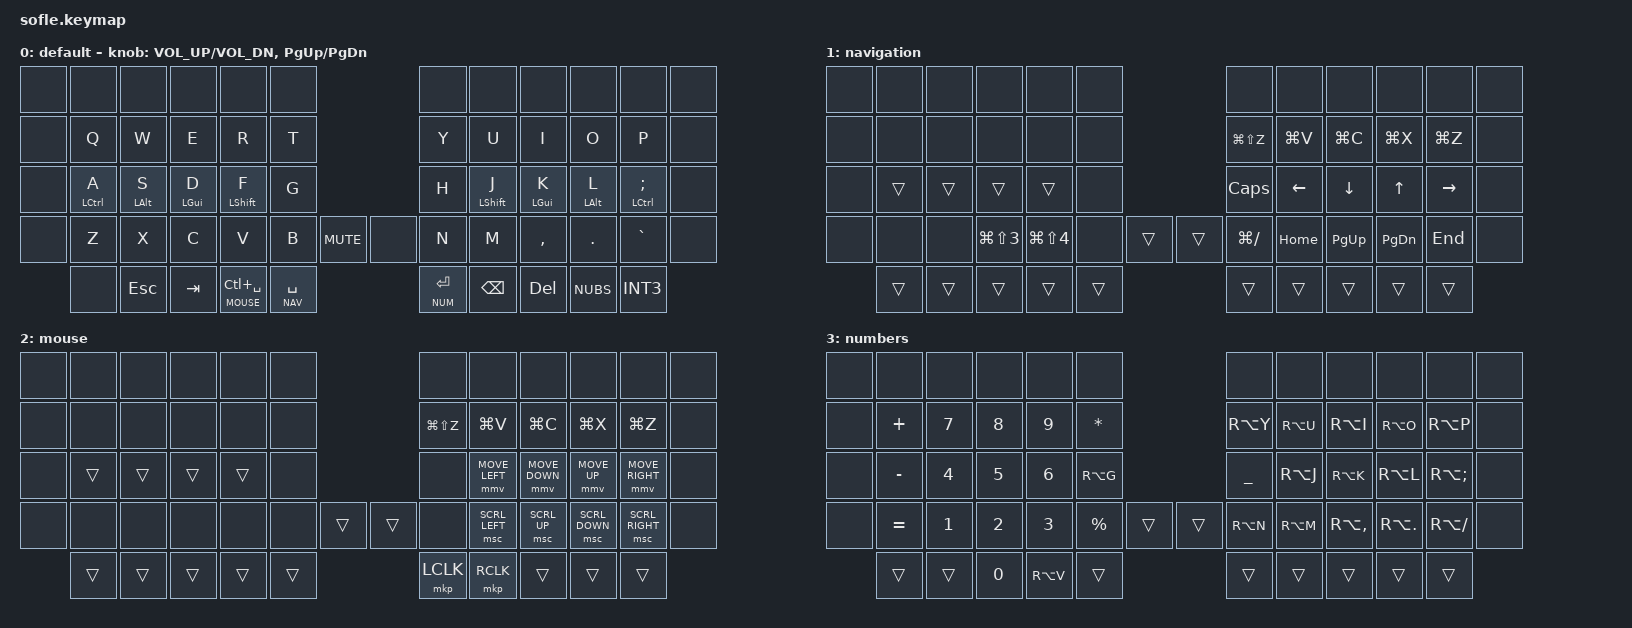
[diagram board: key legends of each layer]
#include <dt-bindings/zmk/mouse.h>
#include <behaviors.dtsi>
#include <dt-bindings/zmk/keys.h>
#include <dt-bindings/zmk/pointing.h>

#define BASE 0
#define NAV  1
#define MOUSE 2
#define NUM  3

/ {
    behaviors {
        // Home Row Mods
        hrm: home_row_mod {
            compatible = "zmk,behavior-hold-tap";
            label = "HOME_ROW_MOD";
            #binding-cells = <2>;
            tapping-term-ms = <180>;
            quick-tap-ms = <120>;
            require-prior-idle-ms = <100>;
            flavor = "tap-preferred";
            bindings = <&kp>, <&kp>;
        };

        // Mouse smoothness
        mmv {
            acceleration-exponent = <1>;
            time-to-max-speed-ms = <500>;
            delay-ms = <0>;
        };

        // Mouse scroll
        msc {
            acceleration-exponent = <1>;
            time-to-max-speed-ms = <500>;
            delay-ms = <0>;
        };
    };

    combos {
        compatible = "zmk,combos";

        // === COMBO FOR THE LAYER BASE ===
        // 1. Combo for the Russian letter "х" ("щ" + "з")
        combo_base_ru_kh {
            timeout-ms = <50>;
            key-positions = <19 20>;
            bindings = <&kp LBKT>;
            layers = <0>;
        };

        // 2. Combo for the Russian letter "э" ("д" + "ж")
        combo_base_ru_ae {
            timeout-ms = <50>;
            key-positions = <31 32>;
            bindings = <&kp SQT>;
            layers = <0>;
        };

        // 3. Combo for the Russian letter "ъ" ("т" + "ь")
        combo_base_ru_hard_sign {
            timeout-ms = <50>;
            key-positions = <45 46>;
            bindings = <&kp RBKT>;
            layers = <0>;
        };

        // === COMBO FOR THE LAYER NUM ===
        // 1. Combo for the letter "\" ("f" + "g")
        // ZMK: Option + F (code 3) -> XML: "\"
        combo_num_bslh {
            timeout-ms = <50>;
            key-positions = <28 29>;
            bindings = <&kp RA(F)>;
            layers = <3>;
        };

        // 2. Combo for the letter "~" ("y" + "u")
        // ZMK: Option + D (code 2) -> XML: "~"
        combo_num_tilde {
            timeout-ms = <50>;
            key-positions = <18 19>;
            bindings = <&kp RA(D)>;
            layers = <3>;
        };

        // 3. Combo for the letter "@" ("u" + "i")
        // ZMK: Option + W (code 13) -> XML: "@"
        combo_num_at {
            timeout-ms = <50>;
            key-positions = <19 20>;
            bindings = <&kp RA(W)>;
            layers = <3>;
        };

        // 4. Combo for the letter "'" ("i" + "o")
        combo_num_sqt {
            timeout-ms = <50>;
            key-positions = <20 21>;
            bindings = <&kp RA(SQT)>;
            layers = <3>;
        };

        // 5. Combo for the letter "`" ("o" + "p")
        combo_num_grave {
            timeout-ms = <50>;
            key-positions = <21 22>;
            bindings = <&kp RA(GRAVE)>;
            layers = <3>;
        };

        // 6. Combo for the letter "#" ("j" + "k")
        // ZMK: Option + E (code 14) -> XML: "#"
        combo_num_hash {
            timeout-ms = <50>;
            key-positions = <31 32>;
            bindings = <&kp RA(E)>;
            layers = <3>;
        };

        // 7. Combo for the letter ";" ("l" + ";")
        combo_num_semi {
            timeout-ms = <50>;
            key-positions = <33 34>;
            bindings = <&kp RA(S)>;
            layers = <3>;
        };

        // 8. Combo for the letter "$" ("m" + ",")
        // ZMK: Option + R (code 15) -> XML: "$"
        combo_num_dollar {
            timeout-ms = <50>;
            key-positions = <45 46>;
            bindings = <&kp RA(R)>;
            layers = <3>;
        };
    };

    keymap {
        compatible = "zmk,keymap";

        // === 0. BASE LAYER ===

        default_layer {
            display-name = "default";
            bindings = <
                &none           &none           &none           &none           &none           &none                                           &none           &none           &none           &none           &none           &none
                &none           &kp Q           &kp W           &kp E           &kp R           &kp T                                           &kp Y           &kp U           &kp I           &kp O           &kp P           &none
                &none           &hrm LCTRL A    &hrm LALT S     &hrm LGUI D     &hrm LSHIFT F   &kp G                                           &kp H           &hrm LSHIFT J   &hrm LGUI K     &hrm LALT L     &hrm LCTRL SEMI &none
                &none           &kp Z           &kp X           &kp C           &kp V           &kp B           &kp C_MUTE      &none           &kp N           &kp M           &kp COMMA       &kp DOT         &kp GRAVE       &none
                                &none           &kp ESCAPE      &kp TAB  &lt MOUSE LC(SPACE)    &lt NAV SPACE                                   &lt NUM ENTER   &kp BSPC        &kp DEL         &kp NUBS        &kp INT3
            >;

            sensor-bindings = <&inc_dec_kp C_VOL_UP C_VOL_DN &inc_dec_kp PG_UP PG_DN>;
        };

        // === 1. NAVIGATION LAYER ===

        nav_layer {
            display-name = "navigation";
            bindings = <
                &none           &none           &none           &none           &none           &none                                           &none           &none           &none           &none           &none           &none
                &none           &none           &none           &none           &none           &none                                           &kp LG(LS(Z))   &kp LG(V)       &kp LG(C)       &kp LG(X)       &kp LG(Z)       &none
                &none           &trans          &trans          &trans          &trans          &none                                           &kp CAPSLOCK    &kp LEFT        &kp DOWN        &kp UP          &kp RIGHT       &none
                &none           &none           &none           &kp LG(LS(N3))  &kp LG(LS(N4))  &none           &trans          &trans          &kp LG(FSLH)    &kp HOME        &kp PG_UP       &kp PG_DN       &kp END         &none
                                &trans          &trans          &trans          &trans          &trans                                          &trans          &trans          &trans          &trans          &trans
            >;
        };

        // === 2. MOUSE LAYER ===

        mouse_layer {
            display-name = "mouse";
            bindings = <
                &none           &none           &none           &none           &none           &none                                           &none           &none           &none           &none           &none           &none
                &none           &none           &none           &none           &none           &none                                           &kp LG(LS(Z))   &kp LG(V)       &kp LG(C)       &kp LG(X)       &kp LG(Z)       &none
                &none           &trans          &trans          &trans          &trans          &none                                           &none           &mmv MOVE_LEFT  &mmv MOVE_DOWN  &mmv MOVE_UP    &mmv MOVE_RIGHT &none
                &none           &none           &none           &none           &none           &none           &trans          &trans          &none           &msc SCRL_LEFT  &msc SCRL_UP    &msc SCRL_DOWN  &msc SCRL_RIGHT &none
                                &trans          &trans          &trans          &trans          &trans                                          &mkp LCLK       &mkp RCLK       &trans          &trans          &trans
            >;
        };

        // === 3. NUMBERS LAYER ===

        num_layer {
            display-name = "numbers";
            bindings = <
                &none           &none           &none           &none           &none           &none                                           &none           &none           &none           &none           &none           &none
                &none           &kp PLUS        &kp N7          &kp N8          &kp N9          &kp ASTRK                                       &kp RA(Y)       &kp RA(U)       &kp RA(I)       &kp RA(O)       &kp RA(P)       &none
                &none           &kp MINUS       &kp N4          &kp N5          &kp N6          &kp RA(G)                                       &kp UNDER       &kp RA(J)       &kp RA(K)       &kp RA(L)       &kp RA(SEMI)    &none
                &none           &kp EQUAL       &kp N1          &kp N2          &kp N3          &kp PRCNT       &trans          &trans          &kp RA(N)       &kp RA(M)       &kp RA(COMMA)   &kp RA(DOT)     &kp RA(FSLH)    &none
                                &trans          &trans          &kp N0          &kp RA(V)       &trans                                          &trans          &trans          &trans          &trans          &trans
            >;
        };
    };
};
